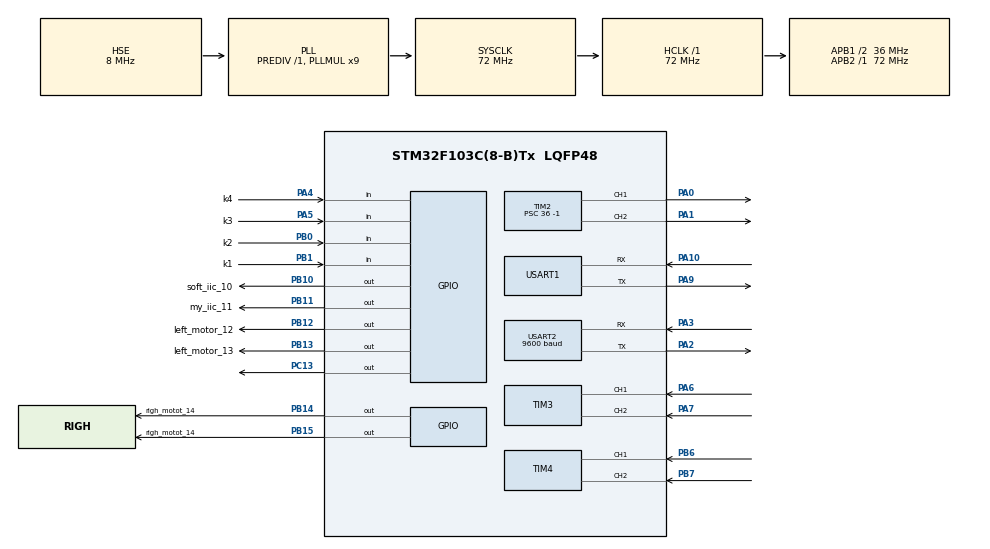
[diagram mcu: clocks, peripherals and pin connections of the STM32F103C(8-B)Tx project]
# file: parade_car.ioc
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FREERTOS.HEAP_NUMBER=4
FREERTOS.Tasks01=defaultTask,-3,64,StartDefaultTask,Default,NULL,Dynamic,NULL,NULL
FREERTOS.configENABLE_FPU=0
FREERTOS.configMINIMAL_STACK_SIZE=64
FREERTOS.configTOTAL_HEAP_SIZE=6144
Mcu.Family=STM32F1
Mcu.Name=STM32F103C(8-B)Tx
Mcu.Package=LQFP48
NVIC.PriorityGroup=NVIC_PRIORITYGROUP_4
NVIC.TIM1_UP_IRQn=true\:15\:0\:false\:false\:true\:false\:false\:true\:true
NVIC.TimeBase=TIM1_UP_IRQn
NVIC.TimeBaseIP=TIM1
NVIC.USART2_IRQn=true\:5\:0\:false\:false\:true\:true\:true\:true\:true
PA0-WKUP.Signal=S_TIM2_CH1_ETR
PA1.Signal=S_TIM2_CH2
PA10.Mode=Asynchronous
PA10.Signal=USART1_RX
PA13.Mode=Serial_Wire
PA13.Signal=SYS_JTMS-SWDIO
PA14.Mode=Serial_Wire
PA14.Signal=SYS_JTCK-SWCLK
PA2.Mode=Asynchronous
PA2.Signal=USART2_TX
PA3.Mode=Asynchronous
PA3.Signal=USART2_RX
PA4.GPIO_Label=k4
PA4.GPIO_PuPd=GPIO_NOPULL
PA4.Signal=GPIO_Input
PA5.GPIO_Label=k3
PA5.GPIO_PuPd=GPIO_NOPULL
PA5.Signal=GPIO_Input
PA6.Signal=S_TIM3_CH1
PA7.Signal=S_TIM3_CH2
PA9.Mode=Asynchronous
PA9.Signal=USART1_TX
PB0.GPIO_Label=k2
PB0.Signal=GPIO_Input
PB1.GPIO_Label=k1
PB1.Signal=GPIO_Input
PB10.GPIO_Label=soft_iic_10
PB10.GPIO_ModeDefaultOutputPP=GPIO_MODE_OUTPUT_OD
PB10.GPIO_PuPd=GPIO_NOPULL
PB10.PinState=GPIO_PIN_SET
PB10.Signal=GPIO_Output
PB11.GPIO_Label=my_iic_11
PB11.Signal=GPIO_Output
PB12.GPIO_Label=left_motor_12
PB12.Signal=GPIO_Output
PB13.GPIO_Label=left_motor_13
PB13.Signal=GPIO_Output
PB14.GPIO_Label=righ_motot_14
PB14.Signal=GPIO_Output
PB15.GPIO_Label=righ_motot_14
PB15.Signal=GPIO_Output
PB6.Signal=S_TIM4_CH1
PB7.Signal=S_TIM4_CH2
PC13-TAMPER-RTC.PinState=GPIO_PIN_SET
PC13-TAMPER-RTC.Signal=GPIO_Output
PD0-OSC_IN.Mode=HSE-External-Oscillator
PD0-OSC_IN.Signal=RCC_OSC_IN
PD1-OSC_OUT.Mode=HSE-External-Oscillator
PD1-OSC_OUT.Signal=RCC_OSC_OUT
ProjectManager.HeapSize=0x200
ProjectManager.StackSize=0x400
ProjectManager.TargetToolchain=CMake
RCC.AHBFreq_Value=72000000
RCC.APB1CLKDivider=RCC_HCLK_DIV2
RCC.APB1Freq_Value=36000000
RCC.APB1TimFreq_Value=72000000
RCC.APB2Freq_Value=72000000
RCC.APB2TimFreq_Value=72000000
RCC.HCLKFreq_Value=72000000
RCC.PLLMUL=RCC_PLL_MUL9
RCC.PLLSourceVirtual=RCC_PLLSOURCE_HSE
RCC.SYSCLKFreq_VALUE=72000000
RCC.SYSCLKSource=RCC_SYSCLKSOURCE_PLLCLK
RCC.USBFreq_Value=72000000
SH.S_TIM2_CH1_ETR.0=TIM2_CH1,PWM Generation1 CH1
SH.S_TIM2_CH2.0=TIM2_CH2,PWM Generation2 CH2
SH.S_TIM3_CH1.0=TIM3_CH1,Encoder_Interface
SH.S_TIM3_CH2.0=TIM3_CH2,Encoder_Interface
SH.S_TIM4_CH1.0=TIM4_CH1,Encoder_Interface
SH.S_TIM4_CH2.0=TIM4_CH2,Encoder_Interface
STMicroelectronics.X-CUBE-ALGOBUILD.1.4.0.LibraryCcDSPOoLibraryJjDSPOoLibrary=true
TIM2.AutoReloadPreload=TIM_AUTORELOAD_PRELOAD_DISABLE
TIM2.Channel-PWM\ Generation1\ CH1=TIM_CHANNEL_1
TIM2.Channel-PWM\ Generation2\ CH2=TIM_CHANNEL_2
TIM2.Period=100 -1
TIM2.Prescaler=36 -1
TIM3.EncoderMode=TIM_ENCODERMODE_TI12
TIM3.IC1Filter=15
TIM3.IC2Filter=15
TIM4.EncoderMode=TIM_ENCODERMODE_TI12
TIM4.IC1Filter=15
TIM4.IC2Filter=15
TIM4.IC2Polarity=TIM_ICPOLARITY_FALLING
USART1.VirtualMode=VM_ASYNC
USART2.BaudRate=9600
USART2.VirtualMode=VM_ASYNC
VP_FREERTOS_VS_CMSIS_V1.Mode=CMSIS_V1
VP_STMicroelectronics.X-CUBE-ALGOBUILD_VS_DSPOoLibraryJjLibrary_1.4.0_1.4.0.Mode=DSPOoLibraryJjLibrary
VP_SYS_VS_tim1.Mode=TIM1
VP_TIM2_VS_ClockSourceINT.Mode=Internal
board=custom

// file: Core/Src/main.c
/* USER CODE BEGIN Header */
/**
  ******************************************************************************
  * @file           : main.c
  * @brief          : Main program body
  ******************************************************************************
  * @attention
  *
  * Copyright (c) 2026 STMicroelectronics.
  * All rights reserved.
  *
  * This software is licensed under terms that can be found in the LICENSE file
  * in the root directory of this software component.
  * If no LICENSE file comes with this software, it is provided AS-IS.
  *
  ******************************************************************************
  */
/* USER CODE END Header */
#include "main.h"
#include "cmsis_os.h"
#include "tim.h"
#include "usart.h"
#include "gpio.h"

/* USER CODE BEGIN Includes */
#include "OLED.h"
#include "mpu6050.h"
#include "Motor.h"
#include "Encoder.h"
#include "Serial.h"
/* USER CODE END Includes */

void SystemClock_Config(void);
void MX_FREERTOS_Init(void);
/* USER CODE BEGIN PFP */
extern uint8_t BSP_DWT_Init(void);
/* USER CODE END PFP */

int main(void)
{

  /* MCU Configuration--------------------------------------------------------*/

  /* Reset of all peripherals, Initializes the Flash interface and the Systick. */
  HAL_Init();

  /* Configure the system clock */
  SystemClock_Config();

  /* Initialize all configured peripherals */
  MX_GPIO_Init();
  MX_USART1_UART_Init();
  MX_USART2_UART_Init();
  MX_TIM2_Init();
  MX_TIM3_Init();
  MX_TIM4_Init();
  /* USER CODE BEGIN 2 */
  OLED_Init();
  BSP_DWT_Init();
  MPU6050_Init();
  Motor_Init();
  Encoder_Init();
  Serial_Init();

  /* USER CODE END 2 */

  /* Call init function for freertos objects (in cmsis_os2.c) */
  MX_FREERTOS_Init();

  /* Start scheduler */
  osKernelStart();

  /* We should never get here as control is now taken by the scheduler */

  /* Infinite loop */
  while (1)
  {

  }
}

void SystemClock_Config(void)
{
  RCC_OscInitTypeDef RCC_OscInitStruct = {0};
  RCC_ClkInitTypeDef RCC_ClkInitStruct = {0};

  /** Initializes the RCC Oscillators according to the specified parameters
  * in the RCC_OscInitTypeDef structure.
  */
  RCC_OscInitStruct.OscillatorType = RCC_OSCILLATORTYPE_HSE;
  RCC_OscInitStruct.HSEState = RCC_HSE_ON;
  RCC_OscInitStruct.HSEPredivValue = RCC_HSE_PREDIV_DIV1;
  RCC_OscInitStruct.HSIState = RCC_HSI_ON;
  RCC_OscInitStruct.PLL.PLLState = RCC_PLL_ON;
  RCC_OscInitStruct.PLL.PLLSource = RCC_PLLSOURCE_HSE;
  RCC_OscInitStruct.PLL.PLLMUL = RCC_PLL_MUL9;
  if (HAL_RCC_OscConfig(&RCC_OscInitStruct) != HAL_OK)
  {
    Error_Handler();
  }

  /** Initializes the CPU, AHB and APB buses clocks
  */
  RCC_ClkInitStruct.ClockType = RCC_CLOCKTYPE_HCLK|RCC_CLOCKTYPE_SYSCLK
                              |RCC_CLOCKTYPE_PCLK1|RCC_CLOCKTYPE_PCLK2;
  RCC_ClkInitStruct.SYSCLKSource = RCC_SYSCLKSOURCE_PLLCLK;
  RCC_ClkInitStruct.AHBCLKDivider = RCC_SYSCLK_DIV1;
  RCC_ClkInitStruct.APB1CLKDivider = RCC_HCLK_DIV2;
  RCC_ClkInitStruct.APB2CLKDivider = RCC_HCLK_DIV1;

  if (HAL_RCC_ClockConfig(&RCC_ClkInitStruct, FLASH_LATENCY_2) != HAL_OK)
  {
    Error_Handler();
  }
}

void HAL_TIM_PeriodElapsedCallback(TIM_HandleTypeDef *htim)
{
  if (htim->Instance == TIM1)
  {
    HAL_IncTick();
  }
}

void Error_Handler(void)
{
  __disable_irq();
  while (1)
  {
  }
}

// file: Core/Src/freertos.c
/* USER CODE BEGIN Header */
/**
  ******************************************************************************
  * File Name          : freertos.c
  * Description        : Code for freertos applications
  ******************************************************************************
  * @attention
  *
  * Copyright (c) 2026 STMicroelectronics.
  * All rights reserved.
  *
  * This software is licensed under terms that can be found in the LICENSE file
  * in the root directory of this software component.
  * If no LICENSE file comes with this software, it is provided AS-IS.
  *
  ******************************************************************************
  */
/* USER CODE END Header */

#include "FreeRTOS.h"
#include "task.h"
#include "main.h"
#include "cmsis_os.h"

osThreadId defaultTaskHandle;

/* USER CODE BEGIN FunctionPrototypes */
extern void KeyScan_Task();
extern void MPU6050_Task();
extern void ChassisRun_Task();
extern void Debug_Task();
/* USER CODE END FunctionPrototypes */

void StartDefaultTask(void const * argument);

void MX_FREERTOS_Init(void); /* (MISRA C 2004 rule 8.1) */

/* GetIdleTaskMemory prototype (linked to static allocation support) */
void vApplicationGetIdleTaskMemory( StaticTask_t **ppxIdleTaskTCBBuffer, StackType_t **ppxIdleTaskStackBuffer, uint32_t *pulIdleTaskStackSize );

/* USER CODE BEGIN GET_IDLE_TASK_MEMORY */
static StaticTask_t xIdleTaskTCBBuffer;
static StackType_t xIdleStack[configMINIMAL_STACK_SIZE];

void vApplicationGetIdleTaskMemory( StaticTask_t **ppxIdleTaskTCBBuffer, StackType_t **ppxIdleTaskStackBuffer, uint32_t *pulIdleTaskStackSize )
{
  *ppxIdleTaskTCBBuffer = &xIdleTaskTCBBuffer;
  *ppxIdleTaskStackBuffer = &xIdleStack[0];
  *pulIdleTaskStackSize = configMINIMAL_STACK_SIZE;
  /* place for user code */
}
/* USER CODE END GET_IDLE_TASK_MEMORY */

void MX_FREERTOS_Init(void) {

  /* Create the thread(s) */
  /* definition and creation of defaultTask */
  osThreadDef(defaultTask, StartDefaultTask, osPriorityIdle, 0, 64);
  defaultTaskHandle = osThreadCreate(osThread(defaultTask), NULL);

  /* USER CODE BEGIN RTOS_THREADS */
  /* add threads, ... */
  KeyScan_Task(); // 创建 KeyScan 任务
  MPU6050_Task(); // 创建 MPU6050 任务
  ChassisRun_Task(); // 创建 ChassisRun 任务
  //Debug_Task(); // 创建 Debug 任务
  /* USER CODE END RTOS_THREADS */

}

void StartDefaultTask(void const * argument)
{
  for(;;)
  {
    osDelay(1);
  }
}
